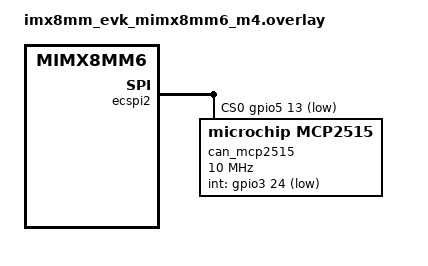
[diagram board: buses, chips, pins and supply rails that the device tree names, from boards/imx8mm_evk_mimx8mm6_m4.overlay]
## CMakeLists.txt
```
cmake_minimum_required(VERSION 3.20.0)

find_package(Zephyr REQUIRED HINTS $ENV{ZEPHYR_BASE})
project(can_sniff)

target_sources(app PRIVATE src/main.c)
```

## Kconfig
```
config CAN_SNIFF_LOOPBACK
	bool "Use MCP2515 loopback mode (no bus partner needed)"
	default n

source "Kconfig.zephyr"
```

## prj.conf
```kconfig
# MCP2515 (ECSPI2) で CAN 受信 → UART4 (J64) に表示する疎通確認アプリ
CONFIG_SPI=y
CONFIG_GPIO=y
CONFIG_CAN=y
CONFIG_PRINTK=y
CONFIG_LOG=y
CONFIG_LOG_MODE_MINIMAL=y
CONFIG_LOG_DEFAULT_LEVEL=3
# デバッグ (原因調査中: SPI 転送タイムアウト)
CONFIG_SPI_LOG_LEVEL_DBG=y
CONFIG_CAN_LOG_LEVEL_DBG=y
CONFIG_LOG_MODE_MINIMAL=n
CONFIG_LOG_MODE_IMMEDIATE=y
```

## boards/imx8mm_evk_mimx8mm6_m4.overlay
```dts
/*
 * XPI-iMX8MM: ECSPI2 上の MCP2515 (現行 CAN HAT) を M4/Zephyr から使う。
 * 値は Linux 側 DT (kmm-yocto imx8mm-xpi.dts) と同一:
 *   発振 12MHz / SPI 10MHz / INT = GPIO3_IO24 (level-low) / CS0 / 1Mbps
 * 前提: Linux 側で can0 down + mcp251x/spi-imx を unbind してから M4 を起動
 */
&pinctrl {
	ecspi2_default: ecspi2_default {
		group0 {
			/* SS0 はネイティブ CS でなく GPIO5_IO13 として運用:
			 * mcux ECSPI ドライバはネイティブ CS だとマルチバッファ
			 * コマンド (BIT MODIFY 等) の途中で CS がパルスし、
			 * MCP2515 のモード遷移が効かない (実測) */
			pinmux = <&iomuxc_ecspi2_sclk_ecspi_sclk_ecspi2_sclk>,
				 <&iomuxc_ecspi2_mosi_ecspi_mosi_ecspi2_mosi>,
				 <&iomuxc_ecspi2_miso_ecspi_miso_ecspi2_miso>,
				 <&iomuxc_ecspi2_ss0_gpio_io_gpio5_io13>;
			slew-rate = "fast";
			drive-strength = "x6";
		};
	};
};

&gpio3 {
	status = "okay";
};

&gpio5 {
	status = "okay";
};

&ecspi2 {
	status = "okay";
	pinctrl-0 = <&ecspi2_default>;
	pinctrl-names = "default";
	cs-gpios = <&gpio5 13 GPIO_ACTIVE_LOW>;

	can_mcp2515: mcp2515@0 {
		compatible = "microchip,mcp2515";
		reg = <0>;
		spi-max-frequency = <10000000>;
		osc-freq = <12000000>;
		int-gpios = <&gpio3 24 GPIO_ACTIVE_LOW>;
		bitrate = <1000000>;
		status = "okay";
	};
};
```

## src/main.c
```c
/* can-sniff — MCP2515 経由で CAN フレームを受信して J64 に表示。
 * 全 ID 受信 (std/ext 両フィルタ) + 毎秒の統計行。
 */
#include <zephyr/kernel.h>
#include <zephyr/drivers/can.h>

static const struct device *const can_dev =
	DEVICE_DT_GET(DT_NODELABEL(can_mcp2515));

static atomic_t rx_count;

static void rx_cb(const struct device *dev, struct can_frame *frame,
		  void *user_data)
{
	ARG_UNUSED(dev);
	ARG_UNUSED(user_data);
	atomic_inc(&rx_count);
	printk("rx id=%03x dlc=%d [%02x %02x %02x %02x %02x %02x %02x %02x]\n",
	       frame->id, frame->dlc,
	       frame->data[0], frame->data[1], frame->data[2], frame->data[3],
	       frame->data[4], frame->data[5], frame->data[6], frame->data[7]);
}

int main(void)
{
	const struct can_filter filter_std = {
		.flags = 0,
		.id = 0,
		.mask = 0, /* mask 0 = 全 ID */
	};
	int ret;

	printk("M4: can-sniff (MCP2515 @ ECSPI2, 1Mbps)\n");

	if (!device_is_ready(can_dev)) {
		printk("CAN device NOT ready\n");
		return 0;
	}
#ifdef CONFIG_CAN_SNIFF_LOOPBACK
	/* バス相手 (ACK) 不要の内部折り返し — SPI/INT/ISR/rx_cb の全経路を
	 * 単体検証するモード。ワイヤには出ない */
	ret = can_set_mode(can_dev, CAN_MODE_LOOPBACK);
	printk("set_mode(LOOPBACK) rc=%d\n", ret);
#endif
	ret = can_start(can_dev);
	printk("can_start rc=%d\n", ret);

	ret = can_add_rx_filter(can_dev, rx_cb, NULL, &filter_std);
	printk("add_rx_filter rc=%d\n", ret);

	while (1) {
		struct can_bus_err_cnt errs;
		enum can_state state;
		struct can_frame tx = {
			.id = 0x123,
			.dlc = 8,
			.data = {0x4B, 0x41, 0x52, 0x54, 0x00, 0x00, 0x00, 0x00},
		};
		static uint8_t seq;
		int txrc;

		k_sleep(K_SECONDS(2));
		tx.data[7] = seq++;
		txrc = can_send(can_dev, &tx, K_MSEC(500), NULL, NULL);
		printk("tx rc=%d seq=%d\n", txrc, seq);
		can_get_state(can_dev, &state, &errs);
		printk("--- rx: %ld | state=%d tx_err=%d rx_err=%d ---\n",
		       atomic_get(&rx_count), state, errs.tx_err_cnt,
		       errs.rx_err_cnt);
	}
	return 0;
}
```
